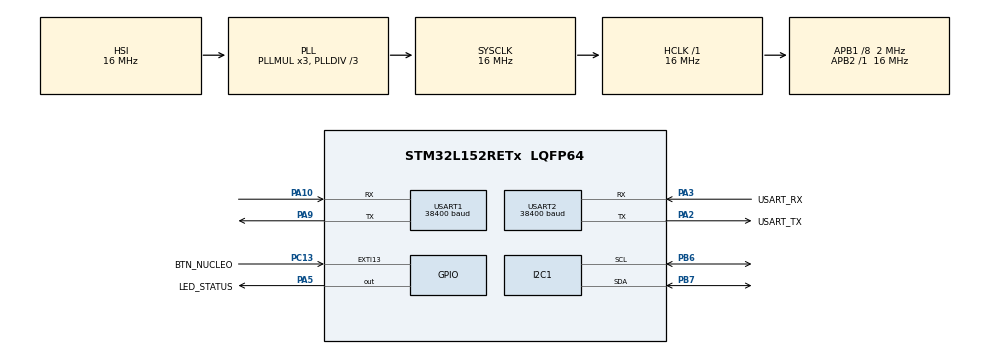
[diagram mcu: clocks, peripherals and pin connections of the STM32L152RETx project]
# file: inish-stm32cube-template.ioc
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ADC.Channel-0\#ChannelRegularConversion=ADC_CHANNEL_TEMPSENSOR
ADC.Channel-1\#ChannelRegularConversion=ADC_CHANNEL_VREFINT
ADC.NbrOfConversion=2
ADC.NbrOfConversionFlag=1
ADC.Rank-0\#ChannelRegularConversion=1
ADC.Rank-1\#ChannelRegularConversion=2
ADC.SamplingTime-0\#ChannelRegularConversion=ADC_SAMPLETIME_384CYCLES
ADC.SamplingTime-1\#ChannelRegularConversion=ADC_SAMPLETIME_384CYCLES
ADC.ScanConvMode=ADC_SCAN_ENABLE
Dma.ADC.0.Direction=DMA_PERIPH_TO_MEMORY
Dma.ADC.0.Instance=DMA1_Channel1
Dma.ADC.0.MemDataAlignment=DMA_MDATAALIGN_HALFWORD
Dma.ADC.0.MemInc=DMA_MINC_ENABLE
Dma.ADC.0.Mode=DMA_NORMAL
Dma.ADC.0.PeriphDataAlignment=DMA_PDATAALIGN_HALFWORD
Dma.ADC.0.PeriphInc=DMA_PINC_DISABLE
Dma.ADC.0.Priority=DMA_PRIORITY_LOW
Dma.Request0=ADC
IWDG.Prescaler=IWDG_PRESCALER_8
Mcu.Family=STM32L1
Mcu.Name=STM32L152RETx
Mcu.Package=LQFP64
NVIC.ADC1_IRQn=true\:0\:0\:false\:false\:true\:true\:true\:true
NVIC.DMA1_Channel1_IRQn=true\:0\:0\:false\:false\:true\:false\:true\:true
NVIC.PriorityGroup=NVIC_PRIORITYGROUP_0
NVIC.TIM10_IRQn=true\:0\:0\:false\:false\:true\:true\:true\:true
NVIC.TIM11_IRQn=true\:0\:0\:false\:false\:true\:true\:true\:true
NVIC.TIM4_IRQn=true\:0\:0\:false\:false\:true\:true\:true\:true
NVIC.USART1_IRQn=true\:0\:0\:false\:false\:true\:true\:true\:true
NVIC.USART2_IRQn=true\:0\:0\:false\:false\:true\:true\:true\:true
PA10.Mode=Asynchronous
PA10.Signal=USART1_RX
PA13.GPIO_Label=TMS
PA13.Mode=Serial_Wire
PA13.Signal=SYS_JTMS-SWDIO
PA14.GPIO_Label=TCK
PA14.Mode=Serial_Wire
PA14.Signal=SYS_JTCK-SWCLK
PA2.GPIO_Label=USART_TX
PA2.Mode=Asynchronous
PA2.Signal=USART2_TX
PA3.GPIO_Label=USART_RX
PA3.Mode=Asynchronous
PA3.Signal=USART2_RX
PA5.GPIO_Label=LED_STATUS
PA5.Signal=GPIO_Output
PA9.Mode=Asynchronous
PA9.Signal=USART1_TX
PB6.Mode=I2C
PB6.Signal=I2C1_SCL
PB7.Mode=I2C
PB7.Signal=I2C1_SDA
PC13-WKUP2.GPIO_Label=BTN_NUCLEO
PC13-WKUP2.Signal=GPXTI13
PC14-OSC32_IN.Mode=LSE-External-Oscillator
PC14-OSC32_IN.Signal=RCC_OSC32_IN
PC15-OSC32_OUT.Mode=LSE-External-Oscillator
PC15-OSC32_OUT.Signal=RCC_OSC32_OUT
PH0-OSC_IN.Signal=RCC_OSC_IN
PH1-OSC_OUT.Signal=RCC_OSC_OUT
ProjectManager.HeapSize=0x200
ProjectManager.StackSize=0x400
ProjectManager.TargetToolchain=STM32CubeIDE
RCC.48MHZClocksFreq_Value=24000000
RCC.AHBFreq_Value=16000000
RCC.APB1CLKDivider=RCC_HCLK_DIV8
RCC.APB1Freq_Value=2000000
RCC.APB1TimFreq_Value=4000000
RCC.APB2Freq_Value=16000000
RCC.APB2TimFreq_Value=16000000
RCC.HCLKFreq_Value=16000000
RCC.HSE_VALUE=8000000
RCC.HSI_VALUE=16000000
RCC.MSI_VALUE=2097000
RCC.PLLDIV=RCC_PLL_DIV3
RCC.RTCClockSelectionVirtual=RCC_RTCCLKSOURCE_LSE
RCC.SYSCLKFreq_VALUE=16000000
RCC.SYSCLKSource=RCC_SYSCLKSOURCE_PLLCLK
RCC.USBOutput=48000000
RCC.VCOOutputFreq_Value=48000000
TIM10.Channel=TIM_CHANNEL_1
TIM10.ICPrescaler=TIM_ICPSC_DIV8
TIM11.Prescaler=15
USART1.BaudRate=38400
USART1.VirtualMode=VM_ASYNC
USART2.BaudRate=38400
USART2.VirtualMode=VM_ASYNC
VP_ADC_TempSens_Input.Mode=IN-TempSens
VP_ADC_Vref_Input.Mode=IN-Vrefint
VP_CRC_VS_CRC.Mode=CRC_Activate
VP_IWDG_VS_IWDG.Mode=IWDG_Activate
VP_RTC_VS_RTC_Activate.Mode=RTC_Enabled
VP_TIM10_VS_ClockSourceINT.Mode=Internal
VP_TIM10_VS_NoInput1.Mode=Input_Capture1_from_TI1_REMAP_TIM10
VP_TIM11_VS_ClockSourceINT.Mode=Internal
VP_TIM4_VS_ClockSourceINT.Mode=Internal
board=NUCLEO-L152RE

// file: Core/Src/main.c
/* USER CODE BEGIN Header */
/**
 ******************************************************************************
 * @file           : main.c
 * @brief          : Main program body
 ******************************************************************************
 * @attention
 *
 * Copyright (c) 2026 STMicroelectronics.
 * All rights reserved.
 *
 * This software is licensed under terms that can be found in the LICENSE file
 * in the root directory of this software component.
 * If no LICENSE file comes with this software, it is provided AS-IS.
 *
 ******************************************************************************
 */
/* USER CODE END Header */
#include "main.h"
#include "adc.h"
#include "crc.h"
#include "dma.h"
#include "i2c.h"
#include "iwdg.h"
#include "rtc.h"
#include "tim.h"
#include "usart.h"
#include "gpio.h"

/* USER CODE BEGIN Includes */
#include "classb.h"
#include "watchdog.h"
#include "util.h"
#include "timer.h"
#include "uart.h"
#include "task.h"
/* USER CODE END Includes */

/* USER CODE BEGIN PV */
static uint32_t _ResetCause;
/* USER CODE END PV */

void SystemClock_Config(void);

int main(void)
{

  /* USER CODE BEGIN 1 */
  // List of reset causes can be found in RM0038 Reference Manual, section 6.3.14,
  // or in stm32l1xx.h
  _ResetCause = RCC->CSR & 0xFF000000u;
  RCC->CSR |= RCC_CSR_RMVF; // Clear reset flags
  /* USER CODE END 1 */

  /* MCU Configuration--------------------------------------------------------*/

  /* Reset of all peripherals, Initializes the Flash interface and the Systick. */
  HAL_Init();

  /* Configure the system clock */
  SystemClock_Config();

  /* USER CODE BEGIN SysInit */
  // Init peripherals used by ClassB before running pre-init tests
  // Resources needed by ClassB pre-init startup tests
  MX_RTC_Init();         // Non-volatile registers used by ClassB
  MX_USART1_UART_Init(); // Debug serial output (must be same USART as BOOT_UART_HANDLE)
  HAL_PWR_EnableBkUpAccess();

  bool vars_reset = ClassB_InitVars(false);
  WDG_ResetDiagnosticsInit();

  printf("\r\nHello, World! (csr=0x%08lX, vr=%d)\r\n", _ResetCause, vars_reset);

  // Pre-initialization ClassB tests
  ClassB_DoStartUpTests(true);
  /* USER CODE END SysInit */

  /* Initialize all configured peripherals */
  MX_GPIO_Init();
  MX_DMA_Init();
  MX_USART2_UART_Init();
  MX_CRC_Init();
  MX_IWDG_Init();
  MX_TIM10_Init();
  MX_TIM11_Init();
  MX_USART1_UART_Init();
  MX_RTC_Init();
  MX_TIM4_Init();
  MX_ADC_Init();
  MX_I2C1_Init();
  /* USER CODE BEGIN 2 */

  // Post-initialization ClassB tests
  ClassB_DoStartUpTests(false);

  ClassB_PrintStatus();

  HAL_TIM_Base_Start_IT(&htim4); ///< Sleep timer

  // Turn off the LEDs
  HAL_GPIO_WritePin(LED_STATUS_GPIO_Port, LED_STATUS_Pin, GPIO_PIN_RESET);

  // Initialize all tasks
  TASK_Init();

  // Require watchdog heartbeat from task loop
  WDG_RequireHeartbeat(true);
  /* USER CODE END 2 */

  /* Infinite loop */
  /* USER CODE BEGIN WHILE */
  while (1)
  {
    TASK_Exec(); //! Does not return
    /* USER CODE END WHILE */

  }
}

void SystemClock_Config(void)
{
  RCC_OscInitTypeDef RCC_OscInitStruct = {0};
  RCC_ClkInitTypeDef RCC_ClkInitStruct = {0};
  RCC_PeriphCLKInitTypeDef PeriphClkInit = {0};

  /** Configure the main internal regulator output voltage
  */
  __HAL_PWR_VOLTAGESCALING_CONFIG(PWR_REGULATOR_VOLTAGE_SCALE1);

  /** Initializes the RCC Oscillators according to the specified parameters
  * in the RCC_OscInitTypeDef structure.
  */
  RCC_OscInitStruct.OscillatorType = RCC_OSCILLATORTYPE_HSI|RCC_OSCILLATORTYPE_LSI
                              |RCC_OSCILLATORTYPE_LSE;
  RCC_OscInitStruct.LSEState = RCC_LSE_ON;
  RCC_OscInitStruct.HSIState = RCC_HSI_ON;
  RCC_OscInitStruct.HSICalibrationValue = RCC_HSICALIBRATION_DEFAULT;
  RCC_OscInitStruct.LSIState = RCC_LSI_ON;
  RCC_OscInitStruct.PLL.PLLState = RCC_PLL_ON;
  RCC_OscInitStruct.PLL.PLLSource = RCC_PLLSOURCE_HSI;
  RCC_OscInitStruct.PLL.PLLMUL = RCC_PLL_MUL3;
  RCC_OscInitStruct.PLL.PLLDIV = RCC_PLL_DIV3;
  if (HAL_RCC_OscConfig(&RCC_OscInitStruct) != HAL_OK)
  {
    Error_Handler();
  }

  /** Initializes the CPU, AHB and APB buses clocks
  */
  RCC_ClkInitStruct.ClockType = RCC_CLOCKTYPE_HCLK|RCC_CLOCKTYPE_SYSCLK
                              |RCC_CLOCKTYPE_PCLK1|RCC_CLOCKTYPE_PCLK2;
  RCC_ClkInitStruct.SYSCLKSource = RCC_SYSCLKSOURCE_PLLCLK;
  RCC_ClkInitStruct.AHBCLKDivider = RCC_SYSCLK_DIV1;
  RCC_ClkInitStruct.APB1CLKDivider = RCC_HCLK_DIV8;
  RCC_ClkInitStruct.APB2CLKDivider = RCC_HCLK_DIV1;

  if (HAL_RCC_ClockConfig(&RCC_ClkInitStruct, FLASH_LATENCY_0) != HAL_OK)
  {
    Error_Handler();
  }
  PeriphClkInit.PeriphClockSelection = RCC_PERIPHCLK_RTC;
  PeriphClkInit.RTCClockSelection = RCC_RTCCLKSOURCE_LSE;
  if (HAL_RCCEx_PeriphCLKConfig(&PeriphClkInit) != HAL_OK)
  {
    Error_Handler();
  }
}

/* USER CODE BEGIN 4 */

// Note: Include this function in SysTick_Handler in stm32l0xx_it.c
void Main_SysTickHandler(void)
{
  TIMER_ProcessCallbacks();
}

uint32_t GetResetCause(void)
{
  return _ResetCause;
}
/* USER CODE END 4 */

void Error_Handler(void)
{
  __disable_irq();
  while (1)
  {
  }
}
